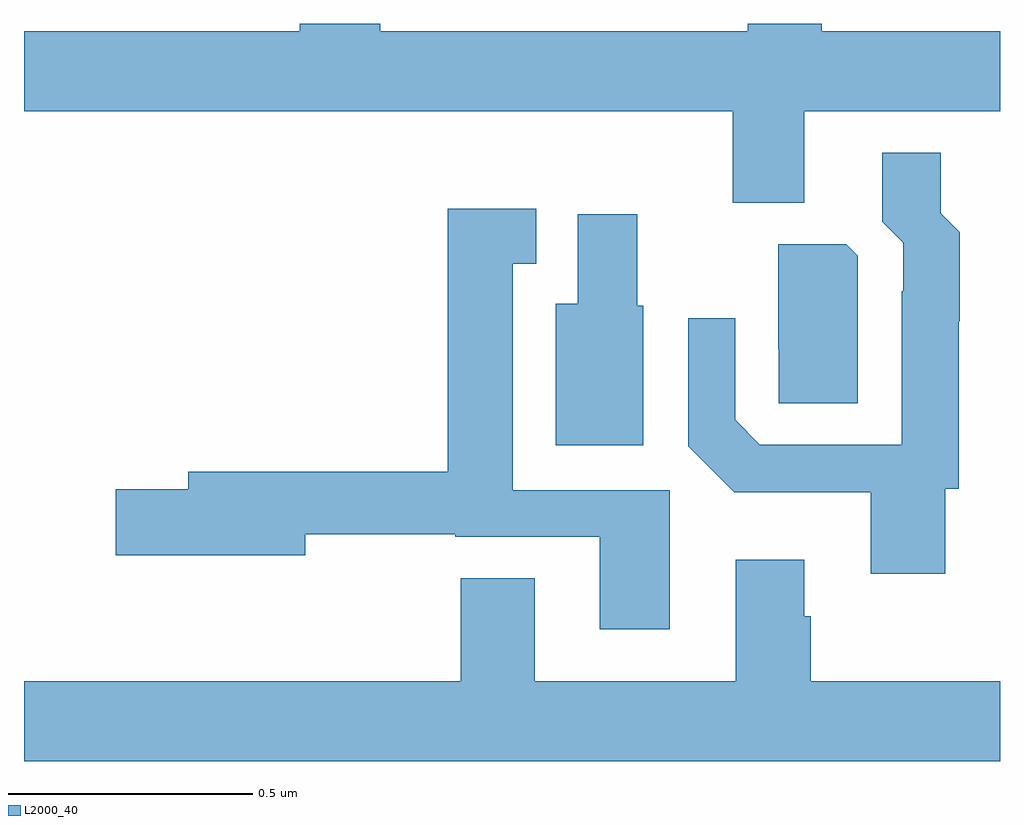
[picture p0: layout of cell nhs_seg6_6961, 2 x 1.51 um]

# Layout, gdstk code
import gdstk
lib = gdstk.Library(unit=1e-6, precision=1e-09)
def P(c, l, *ps):  # polygons
    for p in ps: c.add(gdstk.Polygon(p, *l))
L2000_40 = (2000, 40)

nhs_seg6_6961 = lib.new_cell('nhs_seg6_6961')
P(nhs_seg6_6961, L2000_40, [(203.599,963.32),(204,963.32),(204,963.484),(203.635,963.484),(203.635,963.5),(203.483,963.5),(203.483,963.484),(202.73,963.484),(202.73,963.5),(202.565,963.5),(202.565,963.484),(202,963.484),(202,963.32),(203.452,963.32),(203.452,963.133),(203.599,963.133)],
  [(203.888,962.547),(203.915,962.547),(203.915,962.89),(203.918,962.89),(203.918,963.072),(203.879,963.111),(203.879,963.235),(203.759,963.235),(203.759,963.094),(203.802,963.051),(203.802,962.951),(203.799,962.951),(203.799,962.637),(203.508,962.637),(203.457,962.688),(203.457,962.896),(203.361,962.896),(203.361,962.634),(203.455,962.54),(203.735,962.54),(203.735,962.373),(203.888,962.373)],
  [(203.323,962.544),(203.002,962.544),(203.002,963.008),(203.05,963.008),(203.05,963.121),(202.868,963.121),(202.868,962.582),(202.337,962.582),(202.337,962.546),(202.188,962.546),(202.188,962.411),(202.576,962.411),(202.576,962.454),(202.884,962.454),(202.884,962.448),(203.18,962.448),(203.18,962.259),(203.323,962.259)],
  [(203.269,962.922),(203.257,962.922),(203.257,963.109),(203.135,963.109),(203.135,962.926),(203.09,962.926),(203.09,962.636),(203.269,962.636)],
  [(203.709,963.024),(203.685,963.048),(203.546,963.048),(203.546,962.833),(203.547,962.833),(203.547,962.722),(203.709,962.722)],
  [(204,962.152),(203.612,962.152),(203.612,962.285),(203.599,962.285),(203.599,962.401),(203.459,962.401),(203.459,962.152),(203.047,962.152),(203.047,962.363),(202.895,962.363),(202.895,962.152),(202,962.152),(202,961.988),(204,961.988)])

lib.write_gds('nhs_seg6_6961.gds')
